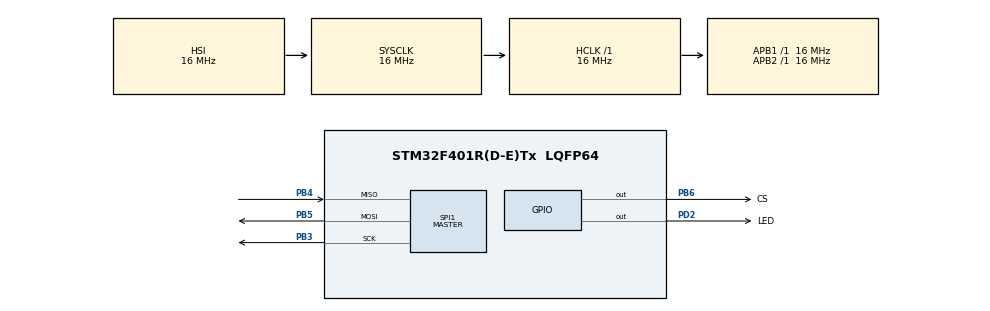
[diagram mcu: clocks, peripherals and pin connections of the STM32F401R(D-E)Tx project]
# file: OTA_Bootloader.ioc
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Mcu.Family=STM32F4
Mcu.Name=STM32F401R(D-E)Tx
Mcu.Package=LQFP64
NVIC.PriorityGroup=NVIC_PRIORITYGROUP_4
PB3.Mode=Full_Duplex_Master
PB3.Signal=SPI1_SCK
PB4.Mode=Full_Duplex_Master
PB4.Signal=SPI1_MISO
PB5.Mode=Full_Duplex_Master
PB5.Signal=SPI1_MOSI
PB6.GPIO_Label=CS
PB6.Signal=GPIO_Output
PD2.GPIO_Label=LED
PD2.Signal=GPIO_Output
ProjectManager.HeapSize=0x200
ProjectManager.StackSize=0x400
ProjectManager.TargetToolchain=STM32CubeIDE
RCC.AHBFreq_Value=16000000
RCC.APB1Freq_Value=16000000
RCC.APB2Freq_Value=16000000
RCC.CortexFreq_Value=16000000
RCC.HSE_VALUE=25000000
RCC.HSI_VALUE=16000000
RCC.LSE_VALUE=32768
RCC.SYSCLKFreq_VALUE=16000000
RCC.VCOOutputFreq_Value=192000000
SPI1.Direction=SPI_DIRECTION_2LINES
SPI1.Mode=SPI_MODE_MASTER
SPI1.VirtualType=VM_MASTER
board=custom

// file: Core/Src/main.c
/* USER CODE BEGIN Header */
/**
  ******************************************************************************
  * @file           : main.c
  * @brief          : OTA bootloader - checks the shared control block on
  *                   every boot; if the app requested an update, downloads
  *                   the new firmware from the server over the W5500,
  *                   verifies it, installs it, then jumps to the app.
  ******************************************************************************
  */
/* USER CODE END Header */
#include "main.h"

/* USER CODE BEGIN Includes */
#include "w5500.h"
#include "http_client.h"
#include "ota_shared.h"
#include "flash_if.h"
#include "network_config.h"
#include <string.h>
/* USER CODE END Includes */

/* USER CODE BEGIN PTD */
typedef struct {
  uint32_t offset;
  uint32_t crc;
  int      error;
} stage_ctx_t;
/* USER CODE END PTD */

SPI_HandleTypeDef hspi1;

void SystemClock_Config(void);
static void MX_GPIO_Init(void);
static void MX_SPI1_Init(void);
/* USER CODE BEGIN PFP */
static void LedSet(GPIO_PinState s);
static void LedBlink(uint32_t on_ms, uint32_t off_ms, int cycles);
static int  SanityCheckImage(uint32_t read_from_addr);
static void StageWriteCb(const uint8_t *data, uint16_t len, void *ctx_);
static int  PerformOtaUpdate(ota_ctrl_t *ctrl);
static void JumpToApp(uint32_t app_base) __attribute__((noreturn));
/* USER CODE END PFP */

/* USER CODE BEGIN 0 */

static void LedSet(GPIO_PinState s)
{
  HAL_GPIO_WritePin(LED_GPIO_Port, LED_Pin, s);
}

static void LedBlink(uint32_t on_ms, uint32_t off_ms, int cycles)
{
  for (int i = 0; i < cycles; i++) {
    LedSet(GPIO_PIN_SET);
    HAL_Delay(on_ms);
    LedSet(GPIO_PIN_RESET);
    HAL_Delay(off_ms);
  }
}

/* Vector table sanity check: word0 (initial SP) must sit in RAM, word1
 * (reset handler) must point into the app's linked flash range with the
 * Thumb bit set. This is the only integrity check available since the
 * OTA server doesn't publish an independent checksum for the binary. */
static int SanityCheckImage(uint32_t read_from_addr)
{
  uint32_t sp = *(volatile uint32_t *)read_from_addr;
  uint32_t reset_vec = *(volatile uint32_t *)(read_from_addr + 4u);

  if (sp < 0x20000000u || sp > (0x20000000u + 96u * 1024u)) return 0;
  if ((reset_vec & 1u) == 0u) return 0;

  uint32_t addr = reset_vec & ~1u;
  if (addr < OTA_APP_ACTIVE_ADDR || addr >= (OTA_APP_ACTIVE_ADDR + OTA_APP_ACTIVE_SIZE)) return 0;
  return 1;
}

static void StageWriteCb(const uint8_t *data, uint16_t len, void *ctx_)
{
  stage_ctx_t *ctx = (stage_ctx_t *)ctx_;
  if (ctx->error) return;
  if (ctx->offset + len > OTA_APP_STAGING_SIZE) { ctx->error = 1; return; }
  if (FlashIf_Write(OTA_APP_STAGING_ADDR + ctx->offset, data, len) != 0) { ctx->error = 1; return; }
  ctx->crc = OTA_Crc32_Update(ctx->crc, data, len);
  ctx->offset += len;
}

/* Downloads the new firmware into the staging slot, verifies it, and only
 * then copies it into the active slot. Returns 0 on a fully-installed
 * update, -1 on any failure (old app in the active slot is left untouched
 * either way). On success, fills in ctrl's installed_etag/staged_* fields
 * and clears update_pending; the caller still has to persist ctrl. */
static int PerformOtaUpdate(ota_ctrl_t *ctrl)
{
  const uint8_t server_ip[4] = SERVER_IP;

  W5500_Init();
  uint32_t link_start = HAL_GetTick();
  while (!W5500_LinkUp()) {
    if ((HAL_GetTick() - link_start) > 5000u) return -1;
  }

  if (FlashIf_EraseSectors(OTA_APP_STAGING_SECTOR, OTA_APP_STAGING_SECTOR_COUNT) != 0) return -1;

  stage_ctx_t ctx = { 0, 0xFFFFFFFFu, 0 };
  http_response_t resp;
  int n = http_get_stream(server_ip, SERVER_PORT, SERVER_HOST, FIRMWARE_PATH, &resp, StageWriteCb, &ctx);

  if (n < 0 || ctx.error) return -1;
  if ((uint32_t)n != resp.content_length) return -1;
  if (ctx.offset != resp.content_length) return -1;
  if (!SanityCheckImage(OTA_APP_STAGING_ADDR)) return -1;

  uint32_t staged_crc = ctx.crc ^ 0xFFFFFFFFu;

  if (FlashIf_EraseSectors(OTA_APP_ACTIVE_SECTOR, OTA_APP_ACTIVE_SECTOR_COUNT) != 0) return -1;
  if (FlashIf_Write(OTA_APP_ACTIVE_ADDR, (const uint8_t *)OTA_APP_STAGING_ADDR, ctx.offset) != 0) return -1;

  uint32_t verify_crc = OTA_Crc32_Update(0xFFFFFFFFu, (const uint8_t *)OTA_APP_ACTIVE_ADDR, ctx.offset) ^ 0xFFFFFFFFu;
  if (verify_crc != staged_crc) return -1;

  ctrl->staged_length = ctx.offset;
  ctrl->staged_crc32 = staged_crc;
  strncpy(ctrl->installed_etag, resp.etag, sizeof(ctrl->installed_etag) - 1);
  ctrl->installed_etag[sizeof(ctrl->installed_etag) - 1] = 0;
  ctrl->update_pending = 0;
  memset(ctrl->pending_etag, 0, sizeof(ctrl->pending_etag));

  return 0;
}

static void JumpToApp(uint32_t app_base)
{
  uint32_t app_stack = *(volatile uint32_t *)app_base;
  uint32_t app_reset_vector = *(volatile uint32_t *)(app_base + 4u);

  HAL_SPI_DeInit(&hspi1);
  HAL_RCC_DeInit();

  SysTick->CTRL = 0;
  SysTick->LOAD = 0;
  SysTick->VAL = 0;

  __set_MSP(app_stack);
  SCB->VTOR = app_base;

  typedef void (*app_entry_t)(void);
  app_entry_t app_entry = (app_entry_t)app_reset_vector;
  app_entry();

  for (;;) { /* never reached */ }
}
/* USER CODE END 0 */

int main(void)
{

  /* MCU Configuration--------------------------------------------------------*/

  /* Reset of all peripherals, Initializes the Flash interface and the Systick. */
  HAL_Init();

  /* Configure the system clock */
  SystemClock_Config();

  /* Initialize all configured peripherals */
  MX_GPIO_Init();
  MX_SPI1_Init();
  /* USER CODE BEGIN 2 */

  ota_ctrl_t ctrl;
  OTA_Ctrl_Load(&ctrl);

  if (ctrl.update_pending) {
    LedSet(GPIO_PIN_SET); /* solid ON while an update is in progress */

    if (PerformOtaUpdate(&ctrl) == 0) {
      OTA_Ctrl_Save(&ctrl);
      LedSet(GPIO_PIN_RESET);
    } else {
      /* Update failed for any reason: clear the pending flag so we don't
       * retry the network on every boot, leave the old (still-good) app
       * untouched, blink an error pattern, then boot it anyway. The app
       * will notice the ETag mismatch again on its next poll and retry. */
      ctrl.update_pending = 0;
      OTA_Ctrl_Save(&ctrl);
      LedBlink(100, 100, 10);
    }
  }

  JumpToApp(OTA_APP_ACTIVE_ADDR);

  /* USER CODE END 2 */

  /* Infinite loop */
  while (1)
  {

  }
}

void SystemClock_Config(void)
{
  RCC_OscInitTypeDef RCC_OscInitStruct = {0};
  RCC_ClkInitTypeDef RCC_ClkInitStruct = {0};

  /** Configure the main internal regulator output voltage
  */
  __HAL_RCC_PWR_CLK_ENABLE();
  __HAL_PWR_VOLTAGESCALING_CONFIG(PWR_REGULATOR_VOLTAGE_SCALE2);

  /** Initializes the RCC Oscillators according to the specified parameters
  * in the RCC_OscInitTypeDef structure.
  */
  RCC_OscInitStruct.OscillatorType = RCC_OSCILLATORTYPE_HSI;
  RCC_OscInitStruct.HSIState = RCC_HSI_ON;
  RCC_OscInitStruct.HSICalibrationValue = RCC_HSICALIBRATION_DEFAULT;
  RCC_OscInitStruct.PLL.PLLState = RCC_PLL_NONE;
  if (HAL_RCC_OscConfig(&RCC_OscInitStruct) != HAL_OK)
  {
    Error_Handler();
  }

  /** Initializes the CPU, AHB and APB buses clocks
  */
  RCC_ClkInitStruct.ClockType = RCC_CLOCKTYPE_HCLK|RCC_CLOCKTYPE_SYSCLK
                              |RCC_CLOCKTYPE_PCLK1|RCC_CLOCKTYPE_PCLK2;
  RCC_ClkInitStruct.SYSCLKSource = RCC_SYSCLKSOURCE_HSI;
  RCC_ClkInitStruct.AHBCLKDivider = RCC_SYSCLK_DIV1;
  RCC_ClkInitStruct.APB1CLKDivider = RCC_HCLK_DIV1;
  RCC_ClkInitStruct.APB2CLKDivider = RCC_HCLK_DIV1;

  if (HAL_RCC_ClockConfig(&RCC_ClkInitStruct, FLASH_LATENCY_0) != HAL_OK)
  {
    Error_Handler();
  }
}

static void MX_SPI1_Init(void)
{

  /* SPI1 parameter configuration*/
  hspi1.Instance = SPI1;
  hspi1.Init.Mode = SPI_MODE_MASTER;
  hspi1.Init.Direction = SPI_DIRECTION_2LINES;
  hspi1.Init.DataSize = SPI_DATASIZE_8BIT;
  hspi1.Init.CLKPolarity = SPI_POLARITY_LOW;
  hspi1.Init.CLKPhase = SPI_PHASE_1EDGE;
  hspi1.Init.NSS = SPI_NSS_SOFT;
  hspi1.Init.BaudRatePrescaler = SPI_BAUDRATEPRESCALER_2;
  hspi1.Init.FirstBit = SPI_FIRSTBIT_MSB;
  hspi1.Init.TIMode = SPI_TIMODE_DISABLE;
  hspi1.Init.CRCCalculation = SPI_CRCCALCULATION_DISABLE;
  hspi1.Init.CRCPolynomial = 10;
  if (HAL_SPI_Init(&hspi1) != HAL_OK)
  {
    Error_Handler();
  }

}

static void MX_GPIO_Init(void)
{
  GPIO_InitTypeDef GPIO_InitStruct = {0};

  /* GPIO Ports Clock Enable */
  __HAL_RCC_GPIOD_CLK_ENABLE();
  __HAL_RCC_GPIOB_CLK_ENABLE();

  /*Configure GPIO pin Output Level */
  HAL_GPIO_WritePin(LED_GPIO_Port, LED_Pin, GPIO_PIN_RESET);

  /*Configure GPIO pin Output Level */
  HAL_GPIO_WritePin(CS_GPIO_Port, CS_Pin, GPIO_PIN_RESET);

  /*Configure GPIO pin : LED_Pin */
  GPIO_InitStruct.Pin = LED_Pin;
  GPIO_InitStruct.Mode = GPIO_MODE_OUTPUT_PP;
  GPIO_InitStruct.Pull = GPIO_NOPULL;
  GPIO_InitStruct.Speed = GPIO_SPEED_FREQ_LOW;
  HAL_GPIO_Init(LED_GPIO_Port, &GPIO_InitStruct);

  /*Configure GPIO pin : CS_Pin */
  GPIO_InitStruct.Pin = CS_Pin;
  GPIO_InitStruct.Mode = GPIO_MODE_OUTPUT_PP;
  GPIO_InitStruct.Pull = GPIO_NOPULL;
  GPIO_InitStruct.Speed = GPIO_SPEED_FREQ_LOW;
  HAL_GPIO_Init(CS_GPIO_Port, &GPIO_InitStruct);

}

void Error_Handler(void)
{
  __disable_irq();
  while (1)
  {
  }
}
